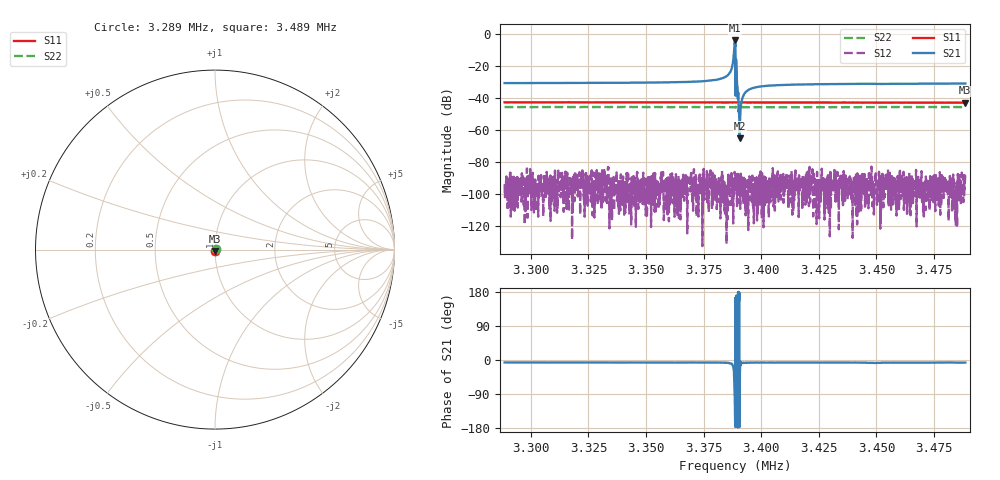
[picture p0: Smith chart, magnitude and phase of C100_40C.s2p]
# Hz S dB R 50.000
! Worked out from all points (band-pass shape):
!   6401 points, 3.289 MHz to 3.489 MHz, reference 50 ohm
!   highest |S21| = -3.97 dB at 3.389 MHz (marker M1); lowest = -65.3 dB at 3.391 MHz (marker M2)
!   |S21| within 3 dB of the highest: 3.388385 MHz to 3.388662 MHz (277.6 Hz wide, 0.00819 % of centre); 3.388733 MHz to 3.388757 MHz (24.39 Hz wide, 0.00072 % of centre)
!   lowest |S11| = -43.0 dB at 3.488 MHz (marker M3), VSWR 1.01, Z = 50 - j0.706 ohm
!   |S11| at or under -10 dB: start of sweep to end of sweep
!   |S22| runs from -45.9 to -45.5 dB; largest |S21 - S12| = 0.63
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3288594  -42.72 -92.7  -30.69 -6.4  -94.05 78.8  -45.68 12.9
3321938  -42.74 -92.4  -30.57 -6.5  -94.06 31.4  -45.64 12.8
3355282  -42.71 -92.7  -30.28 -6.6  -96.45 -161.6  -45.65 12.7
3382063  -42.77 -92.9  -28.08 -6.9  -104.42 -104.1  -45.70 12.6
3385782  -42.78 -92.9  -25.24 -7.6  -96.47 -73.7  -45.75 12.7
3386938  -42.77 -92.7  -22.50 -9.5  -91.09 99.5  -45.72 12.4
3387469  -42.78 -92.9  -19.56 -12.2  -91.65 -76.7  -45.71 12.8
3387813  -42.74 -93.2  -17.30 -17.6  -118.56 39.3  -45.77 12.6
3388594  -42.76 -92.7  -3.97 -133.2  -87.66 39.3  -45.83 14.6
3389125  -42.78 -93.0  -18.47 158.9  -91.39 102.0  -45.70 13.0
3389438  -42.77 -93.0  -30.38 -162.9  -97.46 0.2  -45.76 13.2
3389875  -42.78 -92.8  -39.96 164.9  -89.23 -1.2  -45.76 12.9
3390313  -42.76 -92.9  -47.27 154.5  -96.88 -40.2  -45.72 13.1
3390625  -42.79 -92.7  -65.26 -112.0  -86.91 79.7  -45.76 12.9
3391156  -42.79 -92.8  -44.72 -10.3  -91.76 116.8  -45.74 13.2
3392000  -42.77 -92.8  -39.34 -8.1  -93.61 24.1  -45.75 12.9
3392844  -42.78 -93.0  -37.00 -7.4  -95.55 167.9  -45.76 12.6
3396156  -42.76 -93.0  -33.88 -6.9  -92.39 4.7  -45.77 13.0
3421938  -42.85 -92.9  -31.43 -6.8  -89.40 49.8  -45.71 13.2
3455282  -42.91 -92.9  -31.15 -6.9  -95.40 176.8  -45.71 12.8
3488282  -43.00 -92.9  -30.92 -6.9  -88.34 -43.5  -45.67 12.6
3488594  -42.94 -92.7  -30.94 -6.8  -86.68 68.2  -45.62 12.4
